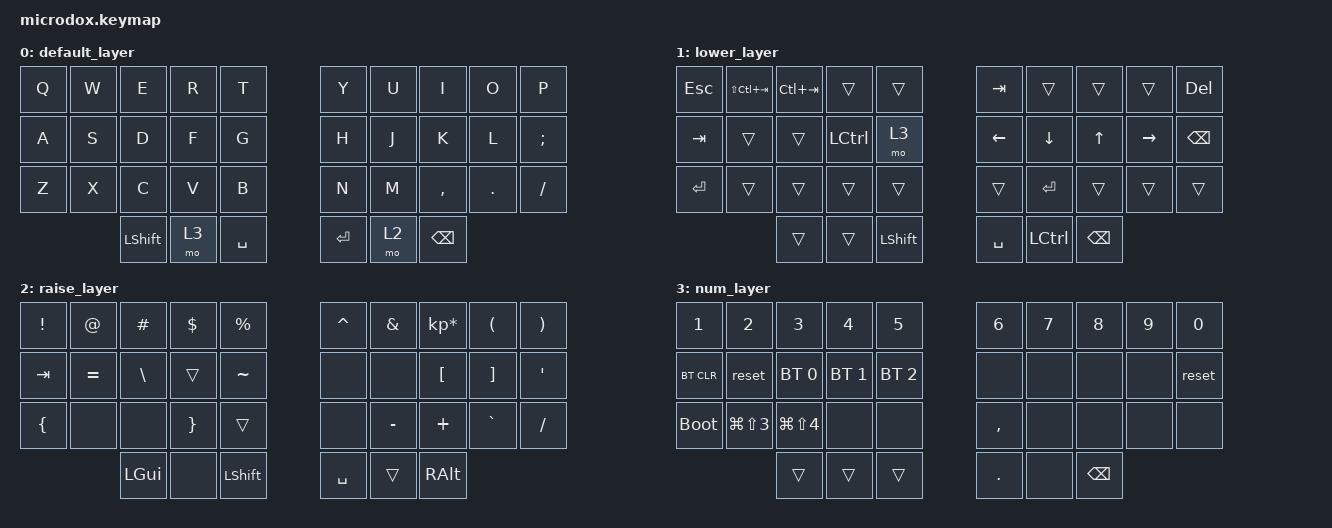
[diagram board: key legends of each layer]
/*
 * Copyright (c) 2020 The ZMK Contributors
 *
 * SPDX-License-Identifier: MIT
 */

#include <behaviors.dtsi>
#include <dt-bindings/zmk/keys.h>
#include <dt-bindings/zmk/bt.h>

/ {
    combos {
        compatible = "zmk,combos";
        combo_esc {
            timeout-ms = <50>;
            key-positions = <0 3>;
            bindings = <&kp ESC>;
        };
        combo_tab {
            timeout-ms = <50>;
            key-positions = <12 13>;
            bindings = <&kp TAB>;
        };
        combo_alt_sym {
            timeout-ms = <50>;
            key-positions = <30 35>;
            bindings = <&kp LALT>;
        };
        combo_caps {
            timeout-ms = <50>;
            key-positions = <31 34>;
            bindings = <&kp CAPS>;
        };
        combo_lwr {
            timeout-ms = <50>;
            key-positions = <30 31>;
            bindings = <&mo 1>;
        };
        combo_num {
            timeout-ms = <50>;
            key-positions = <31 32>;
            bindings = <&mo 3>;
        };
    };
};

/ {
        keymap {
                compatible = "zmk,keymap";

                default_layer {
// -----------------------------------------------------------------------------------------
// |  Q  |  W  |  E  |  R  |  T  |||||  Y  |  U  |  I  |  O  |  P  |
// |  A  |  S  |  D  |  F  |  G  |||||  H  |  J  |  K  |  L  |  ;  |
// |  Z  |  X  |  C  |  V  |  B  |||||  N  |  M  |  ,  |  .  | / |
//             | SHFT | NUM| SPC||||| RET | SYM | BKSP |
                        bindings = <
   &kp Q &kp W &kp E &kp R &kp T   &kp Y &kp U  &kp I     &kp O   &kp P
   &kp A &kp S &kp D &kp F &kp G   &kp H &kp J  &kp K     &kp L   &kp SEMI
   &kp Z &kp X &kp C &kp V &kp B   &kp N &kp M  &kp COMMA &kp DOT &kp FSLH
          &kp LSHFT &mo 3 &kp SPACE &kp RET &mo 2 &kp BSPC
                        >;
                };

                lower_layer {
// -----------------------------------------------------------------------------------------
// | ESC | SCT |  CT |     |     ||||| TAB |     |     |     | DEL  |
// | TAB |     |     | CTRL| NUM |||||  ←  |  ↓  |  ↑  |  →  | BKSP |
// | RET |     |     |     |     |||||     | RET |     |     |      |
//             |     |     | SHFT||||| SPC | CTRL|     |
                        bindings = <
   &kp ESC      &kp LS(LC(TAB)) &kp LC(TAB)  &trans    &trans     &kp TAB   &trans    &trans   &trans    &kp DEL
   &kp TAB      &trans          &trans       &kp LCTRL &mo 3      &kp LEFT  &kp DOWN  &kp UP   &kp RIGHT &kp BSPC
   &kp RET      &trans          &trans       &trans    &trans     &trans    &kp RET   &trans   &trans    &trans
                                &trans       &trans    &kp LSHFT  &kp SPACE &kp LCTRL &kp BSPC
                        >;
                };

                raise_layer {
// -----------------------------------------------------------------------------------------
// |  !  |  @  |  #  |  $  |  %  |||||  ^  |  &  |  *  |  (  |  )  |
// | TAB |  =  |  \  |     |  ~  |||||     |     |  [  |  ]  |  '' |
// |  {  |    |    |  }  |     |||||     |  -  |  +  |  `  |  /  |
//             | GUI |     | SHF ||||| SPC |     | ALT |
                        bindings = <
   &kp EXCL  &kp AT    &kp HASH  &kp DLLR  &kp PRCNT   &kp CARET &kp AMPS  &kp KP_MULTIPLY &kp LPAR &kp RPAR
   &kp TAB   &kp EQUAL  &kp BSLH  &trans    &kp TILDE   &none   &none   &kp LBKT          &kp RBKT &kp SQT
   &kp LBRC  &none  &none  &kp RBRC  &trans      &none     &kp MINUS &kp PLUS        &kp GRAVE &kp FSLH
                       &kp LGUI  &none     &kp LSHFT   &kp SPACE &trans    &kp RALT
                        >;
                };

                num_layer {
// -----------------------------------------------------------------------------------------
// |   1  | 2  |  3  |   4  |   5  |||||  6   |  7  |  8  |  9  |   0  |
// |BTCLR|  RESET   |   BT SEL0  |  BT SEL1   |   BT SEL2  |||||     |  4  |  5  |  6  |   RESET  |
// | BOOT|SC 3|SC 4 |     |     |||||  ,  |  1  |  2  |  3  |     |
//             |     |     |     |||||  .  | 0 | BKSP|
                        bindings = <
   &kp N1        &kp N2  &kp N3  &kp N4   &kp N5       &kp N6      &kp N7  &kp N8  &kp N9  &kp N0
   &bt BT_CLR   &reset           &bt BT_SEL 0           &bt BT_SEL 1   &bt BT_SEL 2       &none      &none  &none &none  &reset
   &bootloader  &kp LG(LS(N3))           &kp LG(LS(N4))            &none   &none       &kp COMMA  &none  &none  &none  &none
                                &trans &trans &trans    &kp DOT   &none &kp BSPC
                        >;
                };
        };
};
